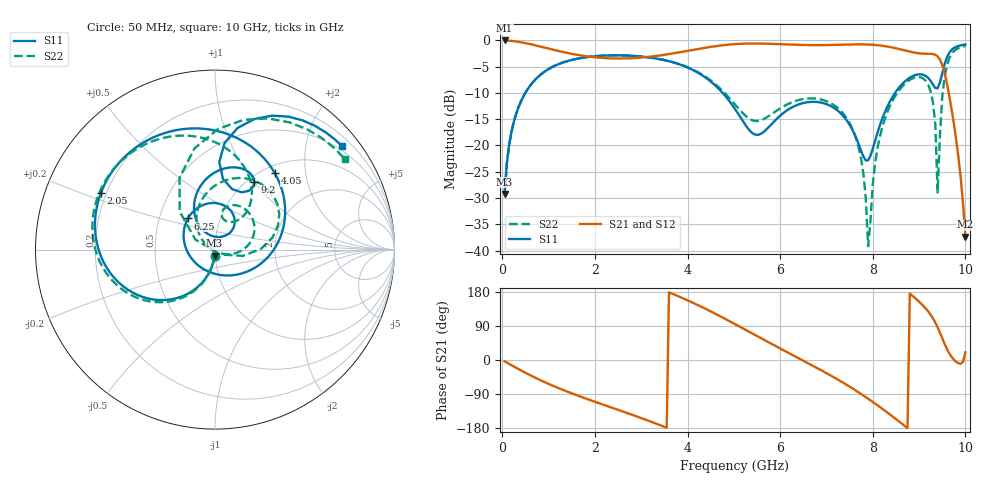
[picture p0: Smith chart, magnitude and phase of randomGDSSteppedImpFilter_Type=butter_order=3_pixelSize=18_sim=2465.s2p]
! freq	dB(S11)	phase(S11)	dB(S12)	phase(S12)
!  dB(S21)	phase(S21)	dB(S22)	phase(S22)
!S-par simulation data
#  GHz  S  DB  R 50
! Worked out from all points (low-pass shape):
!   200 points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, 50 MHz to 10 GHz, reference 50 ohm
!   highest |S21| = -0.01 dB at 50 MHz (marker M1); lowest = -37.4 dB at 10 GHz (marker M2)
!   |S21| within 3 dB of the highest: start of sweep to 1.81 GHz; 3.279 GHz to 9.396 GHz (6.117 GHz wide, 96.5 % of centre)
!   lowest |S11| = -29.2 dB at 50 MHz (marker M3), VSWR 1.07, Z = 49.7 - j3.42 ohm
!   |S11| at or under -10 dB: start of sweep to 496.8 MHz; 4.758 GHz to 8.482 GHz (3.724 GHz wide, 56.2 % of centre)
!   |S22| runs from -39.2 to -1.1 dB; largest |S21 - S12| = 0
!   S11 on the Smith chart (normalised r, x): 50 MHz: 0.99, -0.07; 2.05 GHz: 0.18, +0.23; 4.05 GHz: 1.13, +1.36; 6.25 GHz: 0.70, +0.26; 9.2 GHz: 1.07, +1.01; 10 GHz: 0.39, +2.75
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0.05  -29.24 -93.7  -0.01 -3.5  -0.01 -3.5  -29.24 -93.5
0.2  -17.33 -104.6  -0.10 -13.9  -0.10 -13.9  -17.33 -104.0
0.5  -9.95 -125.1  -0.51 -33.7  -0.51 -33.7  -9.95 -123.5
1.75  -3.28 167.1  -2.93 -99.3  -2.93 -99.3  -3.28 173.3
2.05  -2.97 153.4  -3.25 -112.3  -3.25 -112.3  -2.97 161.0
3.4  -3.57 89.7  -2.87 -171.6  -2.87 -171.6  -3.55 107.2
4.05  -5.35 51.8  -1.91 154.8  -1.91 154.8  -5.28 79.5
5.05  -13.38 -35.5  -0.69 93.0  -0.69 93.0  -12.44 50.0
5.5  -17.99 -120.5  -0.59 63.1  -0.59 63.1  -15.35 68.5
6.25  -12.77 131.0  -0.80 14.3  -0.80 14.3  -11.79 71.9
6.7  -11.69 95.8  -0.89 -14.8  -0.89 -14.8  -11.03 51.9
7.6  -17.73 48.4  -0.76 -77.9  -0.76 -77.9  -17.69 -6.4
7.8  -22.16 65.3  -0.76 -93.8  -0.76 -93.8  -25.56 -27.0
7.9  -22.83 91.4  -0.78 -102.1  -0.78 -102.1  -39.17 -78.3
8.05  -19.09 119.2  -0.86 -115.0  -0.86 -115.0  -23.38 148.2
8.35  -11.97 117.6  -1.22 -141.9  -1.22 -141.9  -12.90 116.4
9.2  -7.18 60.0  -2.55 127.5  -2.55 127.5  -8.49 20.9
9.35  -9.06 64.9  -2.72 98.8  -2.72 98.8  -15.94 -12.8
9.4  -9.11 74.2  -3.03 86.3  -3.03 86.3  -28.94 -47.8
9.55  -4.52 84.9  -6.18 43.0  -6.18 43.0  -7.02 116.3
9.7  -1.81 66.9  -12.99 8.7  -12.99 8.7  -2.61 77.5
10  -0.79 39.3  -37.38 20.3  -37.38 20.3  -1.09 35.1
